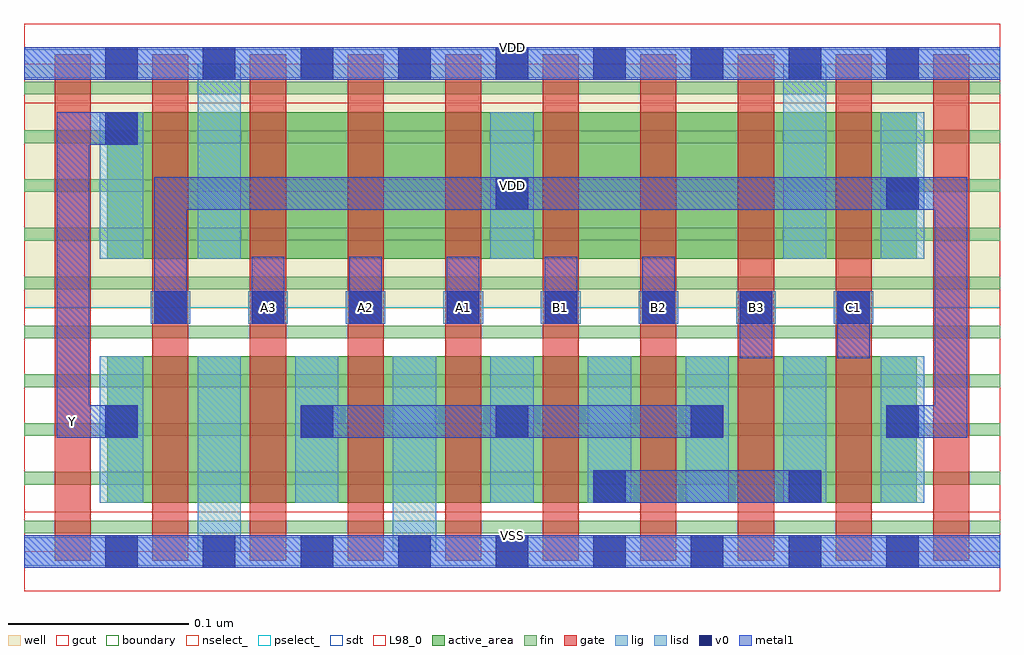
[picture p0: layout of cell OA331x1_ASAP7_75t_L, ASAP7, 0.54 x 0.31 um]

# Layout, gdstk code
import gdstk
lib = gdstk.Library(unit=1e-6, precision=2.5e-10)
def R(c, l, rs):  # rectangles x0, y0, x1, y1
    for r in rs: c.add(gdstk.rectangle(r[:2], r[2:], *l))
def A(c, l, x, y, w, h, nx, ny, dx, dy):  # array of equal rectangles
    R(c, l, [(x+i*dx, y+j*dy, x+i*dx+w, y+j*dy+h) for i in range(nx) for j in range(ny)])
def P(c, l, *ps):  # polygons
    for p in ps: c.add(gdstk.Polygon(p, *l))
well = (1, 0)
fin = (2, 0)
gate = (7, 0)
gcut = (10, 0)
active_area = (11, 0)
nselect_ = (12, 0)
pselect_ = (13, 0)
lig = (16, 0)
lisd = (17, 0)
v0 = (18, 0)
metal1 = (19, 0)
sdt = (88, 0)
L98_0 = (98, 0)
boundary = (100, 0)

oa331x1_asap7_75t_l = lib.new_cell('OA331x1_ASAP7_75t_L')
R(oa331x1_asap7_75t_l, well, [(0,0.135,0.54,0.27)])
A(oa331x1_asap7_75t_l, fin, 0, 0.01, 0.54, 0.007, 1, 10, 0, 0.027)
A(oa331x1_asap7_75t_l, gate, 0.017, -0.005, 0.02, 0.28, 10, 1, 0.054, 0)
R(oa331x1_asap7_75t_l, gcut, [(0,-0.022,0.54,0.022), (0,0.248,0.54,0.292)])
R(oa331x1_asap7_75t_l, active_area, [(0.046,0.027,0.494,0.108), (0.046,0.162,0.494,0.243)])
R(oa331x1_asap7_75t_l, nselect_, [(0,0,0.54,0.135)])
R(oa331x1_asap7_75t_l, pselect_, [(0,0.135,0.54,0.27)])
A(oa331x1_asap7_75t_l, lig, 0.07, 0.126, 0.022, 0.018, 8, 1, 0.054, 0)
R(oa331x1_asap7_75t_l, lig, [(0,-0.008,0.54,0.008), (0,0.262,0.54,0.278)])
A(oa331x1_asap7_75t_l, lisd, 0.042, 0.027, 0.024, 0.081, 3, 1, 0.108, 0)
A(oa331x1_asap7_75t_l, lisd, 0.312, 0.027, 0.024, 0.081, 4, 1, 0.054, 0)
A(oa331x1_asap7_75t_l, lisd, 0.042, 0.162, 0.024, 0.081, 3, 1, 0.216, 0)
R(oa331x1_asap7_75t_l, lisd, [(0.096,0,0.12,0.108), (0.096,0,0.12,0.108), (0.204,0,0.228,0.108), (0.204,0,0.228,0.108), (0.096,0.162,0.12,0.27), (0.096,0.162,0.12,0.27), (0.42,0.162,0.444,0.27), (0.42,0.162,0.444,0.27)])
A(oa331x1_asap7_75t_l, v0, 0.045, -0.009, 0.018, 0.018, 9, 2, 0.054, 0.27)
A(oa331x1_asap7_75t_l, v0, 0.045, 0.063, 0.018, 0.018, 5, 1, 0.108, 0)
A(oa331x1_asap7_75t_l, v0, 0.072, 0.126, 0.018, 0.018, 8, 1, 0.054, 0)
R(oa331x1_asap7_75t_l, v0, [(0.315,0.027,0.333,0.045), (0.423,0.027,0.441,0.045), (0.261,0.189,0.279,0.207), (0.477,0.189,0.495,0.207), (0.045,0.225,0.063,0.243)])
A(oa331x1_asap7_75t_l, metal1, 0.045, 0.063, 0.018, 0.018, 5, 1, 0.108, 0)
A(oa331x1_asap7_75t_l, metal1, 0.072, 0.126, 0.018, 0.018, 8, 1, 0.054, 0)
A(oa331x1_asap7_75t_l, metal1, 0.126, 0.126, 0.018, 0.037, 5, 1, 0.054, 0)
R(oa331x1_asap7_75t_l, metal1, [(0,-0.009,0.54,0.009), (0.315,0.027,0.333,0.045), (0.315,0.027,0.441,0.045), (0.423,0.027,0.441,0.045), (0.153,0.063,0.387,0.081), (0.396,0.107,0.414,0.144), (0.45,0.107,0.468,0.144), (0.261,0.189,0.279,0.207), (0.477,0.189,0.495,0.207), (0.045,0.225,0.063,0.243), (0,0.261,0.54,0.279)])
P(oa331x1_asap7_75t_l, metal1, [(0.063,0.081),(0.036,0.081),(0.036,0.225),(0.063,0.225),(0.063,0.243),(0.018,0.243),(0.018,0.063),(0.063,0.063)],
  [(0.072,0.207),(0.072,0.126),(0.09,0.126),(0.09,0.189),(0.504,0.189),(0.504,0.081),(0.477,0.081),(0.477,0.063),(0.522,0.063),(0.522,0.207)])
A(oa331x1_asap7_75t_l, sdt, 0.096, 0.027, 0.024, 0.081, 3, 1, 0.054, 0)
A(oa331x1_asap7_75t_l, sdt, 0.204, 0.027, 0.024, 0.081, 6, 1, 0.054, 0)
A(oa331x1_asap7_75t_l, sdt, 0.096, 0.162, 0.024, 0.081, 3, 1, 0.162, 0)
R(oa331x1_asap7_75t_l, sdt, [(0.042,0.027,0.066,0.108), (0.096,0.027,0.12,0.108), (0.042,0.162,0.066,0.243), (0.096,0.162,0.12,0.243), (0.42,0.162,0.444,0.243), (0.474,0.162,0.498,0.243)])
R(oa331x1_asap7_75t_l, L98_0, [(0,0,0.54,0.27)])
R(oa331x1_asap7_75t_l, boundary, [(0,0,0.54,0.27)])
oa331x1_asap7_75t_l.add(gdstk.Label('VDD', (0.27,0.2025), layer=1, texttype=251))
oa331x1_asap7_75t_l.add(gdstk.Label('VSS', (0.27,-0.0675), layer=3, texttype=251))
oa331x1_asap7_75t_l.add(gdstk.Label('VSS', (0.27,0.009), layer=19, texttype=251))
oa331x1_asap7_75t_l.add(gdstk.Label('VDD', (0.27,0.279), layer=19, texttype=251))
oa331x1_asap7_75t_l.add(gdstk.Label('Y', (0.027,0.072), layer=19, texttype=251))
oa331x1_asap7_75t_l.add(gdstk.Label('A3', (0.135,0.135), layer=19, texttype=251))
oa331x1_asap7_75t_l.add(gdstk.Label('A2', (0.189,0.135), layer=19, texttype=251))
oa331x1_asap7_75t_l.add(gdstk.Label('A1', (0.243,0.135), layer=19, texttype=251))
oa331x1_asap7_75t_l.add(gdstk.Label('B1', (0.297,0.135), layer=19, texttype=251))
oa331x1_asap7_75t_l.add(gdstk.Label('B2', (0.351,0.135), layer=19, texttype=251))
oa331x1_asap7_75t_l.add(gdstk.Label('B3', (0.405,0.135), layer=19, texttype=251))
oa331x1_asap7_75t_l.add(gdstk.Label('C1', (0.459,0.135), layer=19, texttype=251))

lib.write_gds('OA331x1_ASAP7_75t_L.gds')
